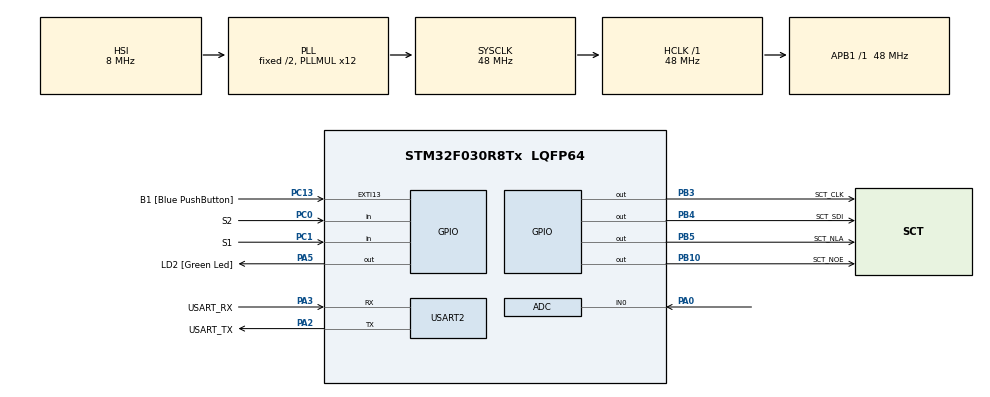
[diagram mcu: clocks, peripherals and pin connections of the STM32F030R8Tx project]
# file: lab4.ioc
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ADC.ContinuousConvMode=ENABLE
ADC.Overrun=ADC_OVR_DATA_OVERWRITTEN
ADC.SamplingTime=ADC_SAMPLETIME_239CYCLES_5
Mcu.Family=STM32F0
Mcu.Name=STM32F030R8Tx
Mcu.Package=LQFP64
NVIC.ADC1_IRQn=true\:0\:0\:false\:false\:true\:true\:true\:true
PA0.Mode=IN0
PA0.Signal=ADC_IN0
PA13.GPIO_Label=TMS
PA13.Mode=Serial_Wire
PA13.Signal=SYS_SWDIO
PA14.GPIO_Label=TCK
PA14.Mode=Serial_Wire
PA14.Signal=SYS_SWCLK
PA2.GPIO_Label=USART_TX
PA2.GPIO_Mode=GPIO_MODE_AF_PP
PA2.GPIO_PuPd=GPIO_NOPULL
PA2.GPIO_Speed=GPIO_SPEED_FREQ_LOW
PA2.Mode=Asynchronous
PA2.Signal=USART2_TX
PA3.GPIO_Label=USART_RX
PA3.GPIO_Mode=GPIO_MODE_AF_PP
PA3.GPIO_PuPd=GPIO_NOPULL
PA3.GPIO_Speed=GPIO_SPEED_FREQ_LOW
PA3.Mode=Asynchronous
PA3.Signal=USART2_RX
PA5.GPIO_Label=LD2 [Green Led]
PA5.GPIO_Mode=GPIO_MODE_OUTPUT_PP
PA5.GPIO_PuPd=GPIO_NOPULL
PA5.GPIO_Speed=GPIO_SPEED_FREQ_LOW
PA5.Signal=GPIO_Output
PB10.GPIO_Label=SCT_NOE
PB10.Signal=GPIO_Output
PB3.GPIO_Label=SCT_CLK
PB3.Signal=GPIO_Output
PB4.GPIO_Label=SCT_SDI
PB4.Signal=GPIO_Output
PB5.GPIO_Label=SCT_NLA
PB5.Signal=GPIO_Output
PC0.GPIO_Label=S2
PC0.GPIO_PuPd=GPIO_PULLUP
PC0.Signal=GPIO_Input
PC1.GPIO_Label=S1
PC1.GPIO_PuPd=GPIO_PULLUP
PC1.Signal=GPIO_Input
PC13.GPIO_Label=B1 [Blue PushButton]
PC13.GPIO_ModeDefaultEXTI=GPIO_MODE_IT_FALLING
PC13.Signal=GPXTI13
PC14-OSC32_IN.Mode=LSE-External-Oscillator
PC14-OSC32_IN.Signal=RCC_OSC32_IN
PC15-OSC32_OUT.Mode=LSE-External-Oscillator
PC15-OSC32_OUT.Signal=RCC_OSC32_OUT
PF0-OSC_IN.Mode=HSE-External-Clock-Source
PF0-OSC_IN.Signal=RCC_OSC_IN
PF1-OSC_OUT.Signal=RCC_OSC_OUT
ProjectManager.HeapSize=0x200
ProjectManager.StackSize=0x400
ProjectManager.TargetToolchain=STM32CubeIDE
RCC.AHBFreq_Value=48000000
RCC.APB1Freq_Value=48000000
RCC.APB1TimFreq_Value=48000000
RCC.HCLKFreq_Value=48000000
RCC.PLLMUL=RCC_PLL_MUL12
RCC.SYSCLKFreq_VALUE=48000000
RCC.SYSCLKSource=RCC_SYSCLKSOURCE_PLLCLK
USART2.VirtualMode-Asynchronous=VM_ASYNC
VP_ADC_TempSens_Input.Mode=IN-TempSens
VP_ADC_Vref_Input.Mode=IN-Vrefint
board=NUCLEO-F030R8

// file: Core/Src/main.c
/* USER CODE BEGIN Header */
/**
  ******************************************************************************
  * @file           : main.c
  * @brief          : Main program body
  ******************************************************************************
  * @attention
  *
  * Copyright (c) 2023 STMicroelectronics.
  * All rights reserved.
  *
  * This software is licensed under terms that can be found in the LICENSE file
  * in the root directory of this software component.
  * If no LICENSE file comes with this software, it is provided AS-IS.
  *
  ******************************************************************************
  */
/* USER CODE END Header */
#include "main.h"

/* USER CODE BEGIN Includes */
#include "sct.h"
/* USER CODE END Includes */

/* USER CODE BEGIN PD */
#define ADC_Q 12
#define TEMP110_CAL_ADDR ((uint16_t*) ((uint32_t) 0x1FFFF7C2))
#define TEMP30_CAL_ADDR ((uint16_t*) ((uint32_t) 0x1FFFF7B8))
#define VREFINT_CAL_ADDR ((uint16_t*) ((uint32_t) 0x1FFFF7BA))
/* USER CODE END PD */

ADC_HandleTypeDef hadc;

UART_HandleTypeDef huart2;

void SystemClock_Config(void);
static void MX_GPIO_Init(void);
static void MX_USART2_UART_Init(void);
static void MX_ADC_Init(void);

/* USER CODE BEGIN 0 */
static volatile uint32_t raw_pot;
static volatile uint32_t raw_temp;
static volatile uint32_t raw_volt;

void HAL_ADC_ConvCpltCallback(ADC_HandleTypeDef* hadc)
{
	static uint8_t channel = 0;
	static uint32_t avg_pot;
	switch (channel) {
		case 0: //
			raw_pot = avg_pot >> ADC_Q;
			avg_pot -= raw_pot;
			avg_pot += HAL_ADC_GetValue(hadc);
			break;
		case 1: // temperature
			raw_temp = HAL_ADC_GetValue(hadc);
			break;
		case 2: // voltage
			raw_volt = HAL_ADC_GetValue(hadc);
			break;
	}
	if (__HAL_ADC_GET_FLAG(hadc, ADC_FLAG_EOS)) channel = 0;
	else channel++;
}
/* USER CODE END 0 */

int main(void)
{

  /* MCU Configuration--------------------------------------------------------*/

  /* Reset of all peripherals, Initializes the Flash interface and the Systick. */
  HAL_Init();

  /* Configure the system clock */
  SystemClock_Config();

  /* Initialize all configured peripherals */
  MX_GPIO_Init();
  MX_USART2_UART_Init();
  MX_ADC_Init();
  /* USER CODE BEGIN 2 */

  sct_init();
  HAL_ADCEx_Calibration_Start(&hadc);
  HAL_ADC_Start_IT(&hadc);

  /* USER CODE END 2 */

  /* Infinite loop */
  /* USER CODE BEGIN WHILE */
  while (1)
  {
	static enum { SHOW_POT, SHOW_VOLT, SHOW_TEMP } state = SHOW_POT;
	static uint32_t button = 0;
    /* USER CODE END WHILE */

    /* USER CODE BEGIN 3 */
	if (!HAL_GPIO_ReadPin(S1_GPIO_Port, S1_Pin))
	{
	  	button = HAL_GetTick();
	  	state = SHOW_VOLT;
	}
	if (!HAL_GPIO_ReadPin(S2_GPIO_Port, S2_Pin))
  	{
  	  	button = HAL_GetTick();
  	  	state = SHOW_TEMP;
  	}
	if(HAL_GetTick() > button + 1000){
		state = SHOW_POT;
	}

	switch (state) {
		case SHOW_VOLT:
			uint32_t voltage = 330 * (*VREFINT_CAL_ADDR) / raw_volt;
			sct_value(voltage, raw_pot * 9 / 4096);
			break;
		case SHOW_TEMP:
			int32_t temperature = (raw_temp - (int32_t)(*TEMP30_CAL_ADDR));
			temperature = temperature * (int32_t)(110 - 30);
			temperature = temperature / (int32_t)(*TEMP110_CAL_ADDR - *TEMP30_CAL_ADDR);
			temperature = temperature + 30;
			sct_value(temperature, raw_pot * 9 / 4096);
			break;
		case SHOW_POT:
			sct_value(raw_pot*501/4096,raw_pot>>9);
			break;
	}
	HAL_Delay(10);
  }
  /* USER CODE END 3 */
}

void SystemClock_Config(void)
{
  RCC_OscInitTypeDef RCC_OscInitStruct = {0};
  RCC_ClkInitTypeDef RCC_ClkInitStruct = {0};

  /** Initializes the RCC Oscillators according to the specified parameters
  * in the RCC_OscInitTypeDef structure.
  */
  RCC_OscInitStruct.OscillatorType = RCC_OSCILLATORTYPE_HSI|RCC_OSCILLATORTYPE_HSI14;
  RCC_OscInitStruct.HSIState = RCC_HSI_ON;
  RCC_OscInitStruct.HSI14State = RCC_HSI14_ON;
  RCC_OscInitStruct.HSICalibrationValue = RCC_HSICALIBRATION_DEFAULT;
  RCC_OscInitStruct.HSI14CalibrationValue = 16;
  RCC_OscInitStruct.PLL.PLLState = RCC_PLL_ON;
  RCC_OscInitStruct.PLL.PLLSource = RCC_PLLSOURCE_HSI;
  RCC_OscInitStruct.PLL.PLLMUL = RCC_PLL_MUL12;
  RCC_OscInitStruct.PLL.PREDIV = RCC_PREDIV_DIV1;
  if (HAL_RCC_OscConfig(&RCC_OscInitStruct) != HAL_OK)
  {
    Error_Handler();
  }

  /** Initializes the CPU, AHB and APB buses clocks
  */
  RCC_ClkInitStruct.ClockType = RCC_CLOCKTYPE_HCLK|RCC_CLOCKTYPE_SYSCLK
                              |RCC_CLOCKTYPE_PCLK1;
  RCC_ClkInitStruct.SYSCLKSource = RCC_SYSCLKSOURCE_PLLCLK;
  RCC_ClkInitStruct.AHBCLKDivider = RCC_SYSCLK_DIV1;
  RCC_ClkInitStruct.APB1CLKDivider = RCC_HCLK_DIV1;

  if (HAL_RCC_ClockConfig(&RCC_ClkInitStruct, FLASH_LATENCY_1) != HAL_OK)
  {
    Error_Handler();
  }
}

static void MX_ADC_Init(void)
{

  ADC_ChannelConfTypeDef sConfig = {0};

  /** Configure the global features of the ADC (Clock, Resolution, Data Alignment and number of conversion)
  */
  hadc.Instance = ADC1;
  hadc.Init.ClockPrescaler = ADC_CLOCK_ASYNC_DIV1;
  hadc.Init.Resolution = ADC_RESOLUTION_12B;
  hadc.Init.DataAlign = ADC_DATAALIGN_RIGHT;
  hadc.Init.ScanConvMode = ADC_SCAN_DIRECTION_FORWARD;
  hadc.Init.EOCSelection = ADC_EOC_SINGLE_CONV;
  hadc.Init.LowPowerAutoWait = DISABLE;
  hadc.Init.LowPowerAutoPowerOff = DISABLE;
  hadc.Init.ContinuousConvMode = ENABLE;
  hadc.Init.DiscontinuousConvMode = DISABLE;
  hadc.Init.ExternalTrigConv = ADC_SOFTWARE_START;
  hadc.Init.ExternalTrigConvEdge = ADC_EXTERNALTRIGCONVEDGE_NONE;
  hadc.Init.DMAContinuousRequests = DISABLE;
  hadc.Init.Overrun = ADC_OVR_DATA_OVERWRITTEN;
  if (HAL_ADC_Init(&hadc) != HAL_OK)
  {
    Error_Handler();
  }

  /** Configure for the selected ADC regular channel to be converted.
  */
  sConfig.Channel = ADC_CHANNEL_0;
  sConfig.Rank = ADC_RANK_CHANNEL_NUMBER;
  sConfig.SamplingTime = ADC_SAMPLETIME_239CYCLES_5;
  if (HAL_ADC_ConfigChannel(&hadc, &sConfig) != HAL_OK)
  {
    Error_Handler();
  }

  /** Configure for the selected ADC regular channel to be converted.
  */
  sConfig.Channel = ADC_CHANNEL_TEMPSENSOR;
  if (HAL_ADC_ConfigChannel(&hadc, &sConfig) != HAL_OK)
  {
    Error_Handler();
  }

  /** Configure for the selected ADC regular channel to be converted.
  */
  sConfig.Channel = ADC_CHANNEL_VREFINT;
  if (HAL_ADC_ConfigChannel(&hadc, &sConfig) != HAL_OK)
  {
    Error_Handler();
  }

}

static void MX_USART2_UART_Init(void)
{

  huart2.Instance = USART2;
  huart2.Init.BaudRate = 38400;
  huart2.Init.WordLength = UART_WORDLENGTH_8B;
  huart2.Init.StopBits = UART_STOPBITS_1;
  huart2.Init.Parity = UART_PARITY_NONE;
  huart2.Init.Mode = UART_MODE_TX_RX;
  huart2.Init.HwFlowCtl = UART_HWCONTROL_NONE;
  huart2.Init.OverSampling = UART_OVERSAMPLING_16;
  huart2.Init.OneBitSampling = UART_ONE_BIT_SAMPLE_DISABLE;
  huart2.AdvancedInit.AdvFeatureInit = UART_ADVFEATURE_NO_INIT;
  if (HAL_UART_Init(&huart2) != HAL_OK)
  {
    Error_Handler();
  }

}

static void MX_GPIO_Init(void)
{
  GPIO_InitTypeDef GPIO_InitStruct = {0};

  /* GPIO Ports Clock Enable */
  __HAL_RCC_GPIOC_CLK_ENABLE();
  __HAL_RCC_GPIOF_CLK_ENABLE();
  __HAL_RCC_GPIOA_CLK_ENABLE();
  __HAL_RCC_GPIOB_CLK_ENABLE();

  /*Configure GPIO pin Output Level */
  HAL_GPIO_WritePin(LD2_GPIO_Port, LD2_Pin, GPIO_PIN_RESET);

  /*Configure GPIO pin Output Level */
  HAL_GPIO_WritePin(GPIOB, SCT_NOE_Pin|SCT_CLK_Pin|SCT_SDI_Pin|SCT_NLA_Pin, GPIO_PIN_RESET);

  /*Configure GPIO pin : B1_Pin */
  GPIO_InitStruct.Pin = B1_Pin;
  GPIO_InitStruct.Mode = GPIO_MODE_IT_FALLING;
  GPIO_InitStruct.Pull = GPIO_NOPULL;
  HAL_GPIO_Init(B1_GPIO_Port, &GPIO_InitStruct);

  /*Configure GPIO pins : S2_Pin S1_Pin */
  GPIO_InitStruct.Pin = S2_Pin|S1_Pin;
  GPIO_InitStruct.Mode = GPIO_MODE_INPUT;
  GPIO_InitStruct.Pull = GPIO_PULLUP;
  HAL_GPIO_Init(GPIOC, &GPIO_InitStruct);

  /*Configure GPIO pin : LD2_Pin */
  GPIO_InitStruct.Pin = LD2_Pin;
  GPIO_InitStruct.Mode = GPIO_MODE_OUTPUT_PP;
  GPIO_InitStruct.Pull = GPIO_NOPULL;
  GPIO_InitStruct.Speed = GPIO_SPEED_FREQ_LOW;
  HAL_GPIO_Init(LD2_GPIO_Port, &GPIO_InitStruct);

  /*Configure GPIO pins : SCT_NOE_Pin SCT_CLK_Pin SCT_SDI_Pin SCT_NLA_Pin */
  GPIO_InitStruct.Pin = SCT_NOE_Pin|SCT_CLK_Pin|SCT_SDI_Pin|SCT_NLA_Pin;
  GPIO_InitStruct.Mode = GPIO_MODE_OUTPUT_PP;
  GPIO_InitStruct.Pull = GPIO_NOPULL;
  GPIO_InitStruct.Speed = GPIO_SPEED_FREQ_LOW;
  HAL_GPIO_Init(GPIOB, &GPIO_InitStruct);

}

void Error_Handler(void)
{
  __disable_irq();
  while (1)
  {
  }
}
